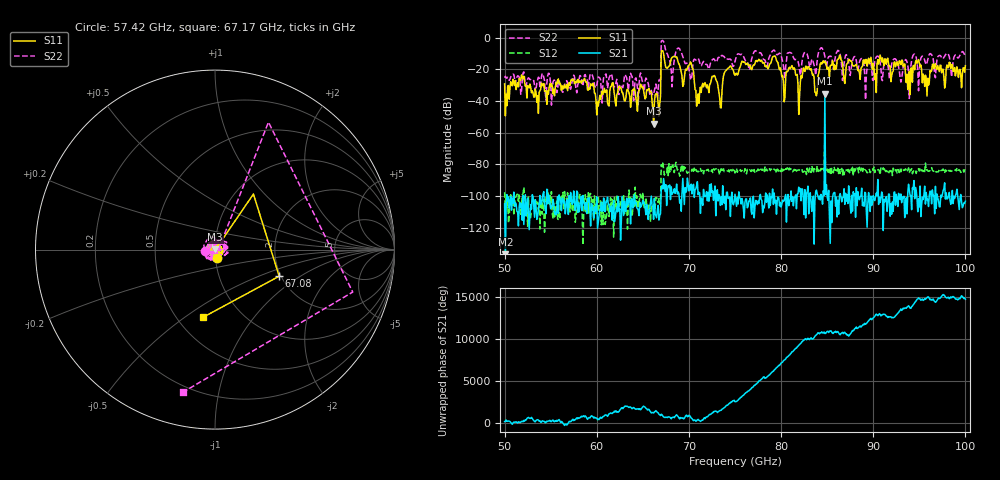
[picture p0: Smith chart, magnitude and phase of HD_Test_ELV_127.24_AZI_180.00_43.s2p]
! 11/25/2026 9:25:51 AM
! C:\ANRITSUVNA\TEMP\TEMP.S2P
! CHANNEL.1
! TR.MEASUREMENT
! RAW.DATA
# HZ S RI R 50.0
! FREQ.HZ  S11RE  S11IM  S21RE  S21IM  S12RE  S12IM  S22RE  S22IM
!; PortSelection: Port_12
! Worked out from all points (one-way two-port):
!   601 points, 50 GHz to 100 GHz, reference 50 ohm
!   highest |S21| = -35.44 dB at 84.75 GHz (marker M1); lowest = -140.0 dB at 50.08 GHz (marker M2)
!   lowest |S11| = -54.3 dB at 66.17 GHz (marker M3), VSWR 1.00, Z = 50.1 + j0.15 ohm
!   |S11| at or under -10 dB: start of sweep to 67 GHz; 67.24 GHz to end of sweep
!   |S22| runs from -42.6 to -1.8 dB; largest |S21 - S12| = 0.017
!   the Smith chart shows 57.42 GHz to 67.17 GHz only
!   S11 on the Smith chart (normalised r, x): 57.42 GHz: 1.02, -0.10; 67.08 GHz: 1.96, -0.68; 67.17 GHz: 0.67, -0.59
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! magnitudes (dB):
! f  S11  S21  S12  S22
! 50 GHz  -29.2  -105.0  -97.6  -25.4
! 50.08 GHz  -49.5  -140.0  -108.9  -24.4
! 57.42 GHz  -26.3  -103.9  -109.9  -25.2
! 58.42 GHz  -27.2  -109.3  -112.1  -29.0
! 60.17 GHz  -43.2  -116.4  -99.8  -24.8
! 61.67 GHz  -28.7  -115.3  -102.3  -24.5
! 66.17 GHz  -54.3  -114.8  -105.3  -35.4
! 66.67 GHz  -41.9  -106.0  -104.1  -32.1
! 67.08 GHz  -8.2  -93.5  -81.5  -1.9
! 67.17 GHz  -8.4  -95.7  -79.2  -1.8
! 70.17 GHz  -15.4  -96.3  -85.2  -25.7
! 70.92 GHz  -40.6  -91.0  -84.5  -13.3
! 75 GHz  -23.7  -98.9  -85.5  -15.0
! 79.25 GHz  -11.8  -98.2  -83.1  -7.9
! 80.25 GHz  -27.6  -103.5  -83.3  -17.6
! 83.42 GHz  -23.8  -102.2  -82.8  -13.6
! 84.75 GHz  -14.9  -35.4  -60.4  -11.8
! 91.67 GHz  -16.7  -98.8  -85.7  -20.4
! 93.75 GHz  -32.8  -97.9  -83.8  -17.2
! 94.83 GHz  -15.0  -110.0  -84.0  -20.3
! 95.83 GHz  -36.9  -102.6  -83.3  -15.9
! 100 GHz  -17.7  -103.4  -84.6  -12.2
